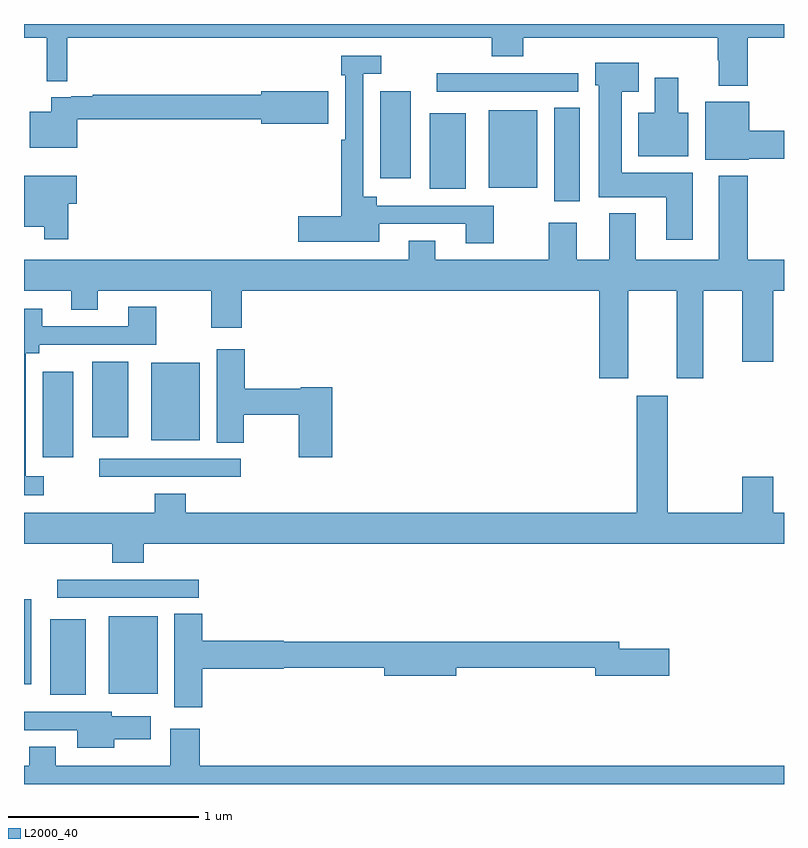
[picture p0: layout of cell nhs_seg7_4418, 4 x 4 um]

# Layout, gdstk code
import gdstk
lib = gdstk.Library(unit=1e-6, precision=1e-09)
def R(c, l, rs):  # rectangles x0, y0, x1, y1
    for r in rs: c.add(gdstk.rectangle(r[:2], r[2:], *l))
def P(c, l, *ps):  # polygons
    for p in ps: c.add(gdstk.Polygon(p, *l))
L2000_40 = (2000, 40)

nhs_seg7_4418 = lib.new_cell('nhs_seg7_4418')
R(nhs_seg7_4418, L2000_40, [(389.138,1018.469,389.326,1018.867), (389.447,1018.475,389.704,1018.882), (389,1018.524,389.038,1018.972), (389.175,1018.98,389.92,1019.076), (389.397,1019.616,390.142,1019.712), (389.099,1019.721,389.26,1020.169), (389.669,1019.81,389.926,1020.217), (389.36,1019.825,389.548,1020.223), (391.79,1021.068,391.924,1021.559), (391.136,1021.133,391.324,1021.531), (391.445,1021.139,391.702,1021.546), (390.875,1021.188,391.036,1021.645), (391.173,1021.644,391.918,1021.74)])
P(nhs_seg7_4418, L2000_40, [(392.81,1021.928),(393,1021.928),(393,1022),(389,1022),(389,1021.928),(389.12,1021.928),(389.12,1021.699),(389.228,1021.699),(389.228,1021.928),(391.463,1021.928),(391.463,1021.829),(391.628,1021.829),(391.628,1021.928),(392.65,1021.928),(392.65,1021.808),(392.657,1021.808),(392.657,1021.676),(392.81,1021.676)],
  [(391.473,1021.044),(390.856,1021.044),(390.856,1021.09),(390.786,1021.09),(390.786,1021.737),(390.88,1021.737),(390.88,1021.833),(390.67,1021.833),(390.67,1021.73),(390.69,1021.73),(390.69,1021.391),(390.67,1021.391),(390.67,1020.989),(390.444,1020.989),(390.444,1020.854),(390.871,1020.854),(390.871,1020.948),(391.325,1020.948),(391.325,1020.846),(391.473,1020.846)],
  [(392.521,1021.216),(392.146,1021.216),(392.146,1021.643),(392.236,1021.643),(392.236,1021.795),(392.006,1021.795),(392.006,1021.677),(392.024,1021.677),(392.024,1021.088),(392.381,1021.088),(392.381,1020.864),(392.521,1020.864)],
  [(392.497,1021.534),(392.443,1021.534),(392.443,1021.717),(392.321,1021.717),(392.321,1021.534),(392.234,1021.534),(392.234,1021.304),(392.497,1021.304)],
  [(389.279,1021.498),(390.248,1021.498),(390.248,1021.475),(390.601,1021.475),(390.601,1021.645),(390.248,1021.645),(390.248,1021.627),(389.362,1021.627),(389.362,1021.62),(389.248,1021.62),(389.248,1021.614),(389.144,1021.614),(389.144,1021.537),(389.03,1021.537),(389.03,1021.349),(389.279,1021.349)],
  [(392.814,1021.292),(393,1021.292),(393,1021.439),(392.818,1021.439),(392.818,1021.591),(392.585,1021.591),(392.585,1021.286),(392.814,1021.286)],
  [(389.234,1021.054),(389.278,1021.054),(389.278,1021.201),(389,1021.201),(389,1020.932),(389.106,1020.932),(389.106,1020.867),(389.234,1020.867)],
  [(392.179,1020.596),(392.435,1020.596),(392.435,1020.135),(392.575,1020.135),(392.575,1020.596),(392.78,1020.596),(392.78,1020.222),(392.944,1020.222),(392.944,1020.596),(393,1020.596),(393,1020.76),(392.81,1020.76),(392.81,1021.201),(392.657,1021.201),(392.657,1020.76),(392.221,1020.76),(392.221,1021.003),(392.081,1021.003),(392.081,1020.76),(391.909,1020.76),(391.909,1020.955),(391.762,1020.955),(391.762,1020.76),(391.165,1020.76),(391.165,1020.859),(391.025,1020.859),(391.025,1020.76),(389,1020.76),(389,1020.596),(389.249,1020.596),(389.249,1020.497),(389.389,1020.497),(389.389,1020.596),(389.986,1020.596),(389.986,1020.402),(390.146,1020.402),(390.146,1020.596),(392.027,1020.596),(392.027,1020.135),(392.179,1020.135)],
  [(389.104,1019.62),(389.01,1019.62),(389.01,1020.266),(389.08,1020.266),(389.08,1020.312),(389.697,1020.312),(389.697,1020.511),(389.549,1020.511),(389.549,1020.408),(389.095,1020.408),(389.095,1020.502),(389,1020.502),(389,1019.52),(389.104,1019.52)],
  [(390.623,1020.088),(390.456,1020.088),(390.456,1020.08),(390.161,1020.08),(390.161,1020.289),(390.014,1020.289),(390.014,1019.797),(390.156,1019.797),(390.156,1019.944),(390.445,1019.944),(390.445,1019.721),(390.623,1019.721)],
  [(389.63,1019.264),(393,1019.264),(393,1019.428),(392.944,1019.428),(392.944,1019.617),(392.78,1019.617),(392.78,1019.428),(392.389,1019.428),(392.389,1020.043),(392.225,1020.043),(392.225,1019.428),(389.852,1019.428),(389.852,1019.527),(389.687,1019.527),(389.687,1019.428),(389,1019.428),(389,1019.264),(389.465,1019.264),(389.465,1019.165),(389.63,1019.165)],
  [(389.939,1018.607),(390.366,1018.607),(390.366,1018.612),(390.896,1018.612),(390.896,1018.57),(391.276,1018.57),(391.276,1018.612),(392.006,1018.612),(392.006,1018.57),(392.395,1018.57),(392.395,1018.712),(392.134,1018.712),(392.134,1018.748),(390.366,1018.748),(390.366,1018.754),(389.939,1018.754),(389.939,1018.895),(389.792,1018.895),(389.792,1018.404),(389.939,1018.404)],
  [(389.475,1018.235),(389.668,1018.235),(389.668,1018.357),(389.463,1018.357),(389.463,1018.38),(389,1018.38),(389,1018.284),(389.279,1018.284),(389.279,1018.19),(389.475,1018.19)],
  [(389.771,1018.096),(389.167,1018.096),(389.167,1018.195),(389.027,1018.195),(389.027,1018.096),(389,1018.096),(389,1018),(393,1018),(393,1018.096),(389.924,1018.096),(389.924,1018.291),(389.771,1018.291)])

lib.write_gds('nhs_seg7_4418.gds')
